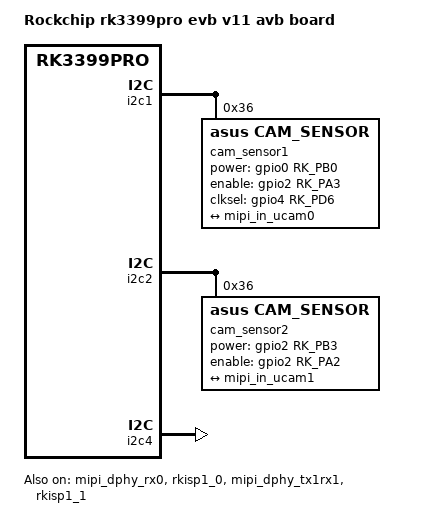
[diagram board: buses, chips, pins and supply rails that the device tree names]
// SPDX-License-Identifier: (GPL-2.0+ OR MIT)
/*
 * Copyright (c) 2018 Fuzhou Rockchip Electronics Co., Ltd
 *
 */

/dts-v1/;
#include "rk3399pro-tinker_edge_r.dtsi"

/ {
	model = "Rockchip rk3399pro evb v11 avb board";
	compatible = "rockchip,rk3399pro-evb-v11-avb", "rockchip,rk3399pro";

	chosen: chosen {
		bootargs = "console=ttyFIQ0 androidboot.baseband=N/A androidboot.wificountrycode=US androidboot.veritymode=enforcing androidboot.hardware=rk30board androidboot.console=ttyFIQ0 firmware_class.path=/vendor/etc/firmware init=/init rootwait ro init=/init androidboot.selinux=permissive";
	};
};

&firmware_android {
	compatible = "android,firmware";
	boot_devices = "fe330000.sdhci";
	fstab {
		compatible = "android,fstab";
		vendor {
			compatible = "android,vendor";
			dev = "/dev/block/by-name/vendor";
			type = "ext4";
			mnt_flags = "ro,barrier=1,inode_readahead_blks=8";
			fsmgr_flags = "wait";
		};
	};
};

&i2c1 {
	status = "okay";

	cam_sensor1: cam_sensor1@36 {
		compatible = "asus,cam_sensor";
		status = "okay";
		reg = <0x36>;
		clocks = <&cru SCLK_TESTCLKOUT2>;
		clock-names = "xvclk";

		/* conflict with csi-ctl-gpios */
		power-gpios = <&gpio0 RK_PB0 GPIO_ACTIVE_HIGH>;
		enable-gpios = <&gpio2 RK_PA3 GPIO_ACTIVE_HIGH>;
		clksel-gpios = <&gpio4 RK_PD6 GPIO_ACTIVE_HIGH>;
		pinctrl-names = "camera_default";
		pinctrl-0 = <&test_clkout2>;
		i2c-index = <0>;

		port {
			ov5647_out: endpoint {
				remote-endpoint = <&mipi_in_ucam0>;
				data-lanes = <1 2>;
			};
		};
	};
};

&i2c2 {
	status = "okay";

	cam_sensor2: cam_sensor2@36 {
		compatible = "asus,cam_sensor";
		status = "okay";
		reg = <0x36>;
		clocks = <&cru SCLK_CIF_OUT>;
		clock-names = "xvclk";

		/* conflict with csi-ctl-gpios */
		power-gpios = <&gpio2 RK_PB3 GPIO_ACTIVE_HIGH>;
		enable-gpios = <&gpio2 RK_PA2 GPIO_ACTIVE_HIGH>;
		i2c-index = <1>;

		port {
			imx219_out: endpoint {
				remote-endpoint = <&mipi_in_ucam1>;
				data-lanes = <1 2>;
			};
		};
	};
};

&isp0_mmu {
	status = "okay";
};

&isp1_mmu {
	status = "okay";
};

&isp0 {
	status = "disabled";
};

&mipi_dphy_rx0 {
	status = "okay";

	ports {
		#address-cells = <1>;
		#size-cells = <0>;

		port@0 {
			reg = <0>;
			#address-cells = <1>;
			#size-cells = <0>;

			mipi_in_ucam0: endpoint@1 {
				reg = <1>;
				remote-endpoint = <&ov5647_out>;
				data-lanes = <1 2>;
			};
		};

		port@1 {
			reg = <1>;
			#address-cells = <1>;
			#size-cells = <0>;

			dphy_rx0_out: endpoint@0 {
				reg = <0>;
				remote-endpoint = <&isp0_mipi_in>;
			};
		};
	};
};

&rkisp1_0 {
	status = "okay";

	port {
		#address-cells = <1>;
		#size-cells = <0>;

		isp0_mipi_in: endpoint@0 {
			reg = <0>;
			remote-endpoint = <&dphy_rx0_out>;
		};
	};
};

&pinctrl {
	isp {
		test_clkout2: cif-test_clkout2 {
			rockchip,pins =
				/* test_clkout2 */
				<0 8 RK_FUNC_3 &pcfg_pull_none>;
		};
	};
};

&i2c4 {
	status = "okay";
	i2c-scl-rising-time-ns = <345>;
	i2c-scl-falling-time-ns = <11>;

	vm149c: vm149c@0c {
		compatible = "silicon touch,vm149c";
		status = "disabled";
		reg = <0x0c>;
		rockchip,camera-module-index = <0>;
		rockchip,camera-module-facing = "back";
	};

	ov13850: ov13850@10 {
		compatible = "ovti,ov13850";
		status = "disabled";
		reg = <0x10>;
		clocks = <&cru SCLK_CIF_OUT>;
		clock-names = "xvclk";

		/* conflict with csi-ctl-gpios */
		reset-gpios = <&gpio4 RK_PD2 GPIO_ACTIVE_HIGH>;
		pwdn-gpios = <&gpio4 RK_PD1 GPIO_ACTIVE_HIGH>;
		pinctrl-names = "rockchip,camera_default";
		pinctrl-0 = <&cif_clkout>;
		rockchip,camera-module-index = <0>;
		rockchip,camera-module-facing = "back";
		rockchip,camera-module-name = "CMK-CT0116";
		rockchip,camera-module-lens-name = "Largan-50013A1";
		lens-focus = <&vm149c>;

		port {
			ucam_out1: endpoint {
				remote-endpoint = <0>;
				data-lanes = <1 2>;
			};
		};
	};
};

&isp1 {
	status = "disabled";
};

&mipi_dphy_tx1rx1 {
	status = "okay";

	ports {
		#address-cells = <1>;
		#size-cells = <0>;

		port@0 {
			reg = <0>;
			#address-cells = <1>;
			#size-cells = <0>;

			mipi_in_ucam1: endpoint@1 {
				reg = <1>;
				remote-endpoint = <&imx219_out>;
				data-lanes = <1 2>;
			};
		};

		port@1 {
			reg = <1>;
			#address-cells = <1>;
			#size-cells = <0>;

			dphy_tx1rx1_out: endpoint@0 {
				reg = <0>;
				remote-endpoint = <&isp1_mipi_in>;
			};
		};
	};
};

&rkisp1_1 {
	status = "okay";

	port {
		#address-cells = <1>;
		#size-cells = <0>;

		isp1_mipi_in: endpoint@0 {
			reg = <0>;
			remote-endpoint = <&dphy_tx1rx1_out>;
		};
	};
};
